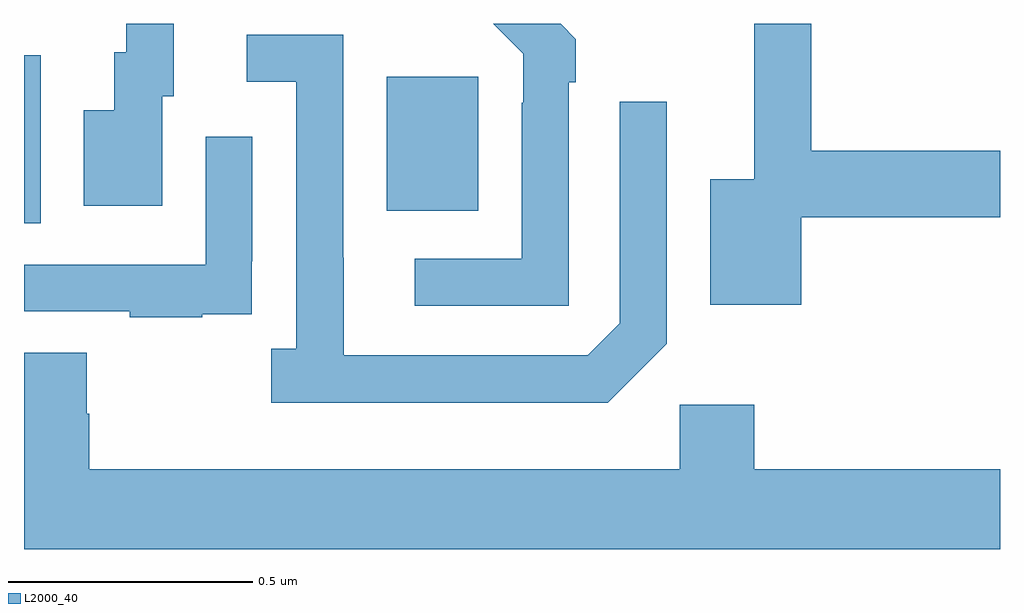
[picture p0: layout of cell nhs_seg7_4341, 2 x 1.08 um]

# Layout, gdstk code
import gdstk
lib = gdstk.Library(unit=1e-6, precision=1e-09)
def R(c, l, rs):  # rectangles x0, y0, x1, y1
    for r in rs: c.add(gdstk.rectangle(r[:2], r[2:], *l))
def P(c, l, *ps):  # polygons
    for p in ps: c.add(gdstk.Polygon(p, *l))
L2000_40 = (2000, 40)

nhs_seg7_4341 = lib.new_cell('nhs_seg7_4341')
R(nhs_seg7_4341, L2000_40, [(171,1026.592,171.034,1026.936), (171.743,1026.617,171.931,1026.892)])
P(nhs_seg7_4341, L2000_40, [(172.593,1026.604),(173,1026.604),(173,1026.74),(172.613,1026.74),(172.613,1027),(172.496,1027),(172.496,1026.682),(172.406,1026.682),(172.406,1026.425),(172.593,1026.425)],
  [(171.283,1026.852),(171.307,1026.852),(171.307,1027),(171.21,1027),(171.21,1026.942),(171.185,1026.942),(171.185,1026.823),(171.122,1026.823),(171.122,1026.627),(171.283,1026.627)],
  [(172.116,1026.881),(172.131,1026.881),(172.131,1026.969),(172.1,1027),(171.962,1027),(172.023,1026.939),(172.023,1026.839),(172.02,1026.839),(172.02,1026.519),(171.801,1026.519),(171.801,1026.423),(172.116,1026.423)],
  [(172.317,1026.345),(172.317,1026.841),(172.221,1026.841),(172.221,1026.387),(172.155,1026.321),(171.655,1026.321),(171.655,1026.521),(171.654,1026.521),(171.654,1026.978),(171.456,1026.978),(171.456,1026.882),(171.558,1026.882),(171.558,1026.334),(171.507,1026.334),(171.507,1026.224),(172.196,1026.224)],
  [(171.365,1026.405),(171.467,1026.405),(171.467,1026.514),(171.468,1026.514),(171.468,1026.769),(171.372,1026.769),(171.372,1026.507),(171,1026.507),(171,1026.411),(171.217,1026.411),(171.217,1026.399),(171.365,1026.399)],
  [(173,1026.088),(172.496,1026.088),(172.496,1026.22),(172.344,1026.22),(172.344,1026.088),(171.134,1026.088),(171.134,1026.201),(171.129,1026.201),(171.129,1026.326),(171,1026.326),(171,1025.924),(173,1025.924)])

lib.write_gds('nhs_seg7_4341.gds')
